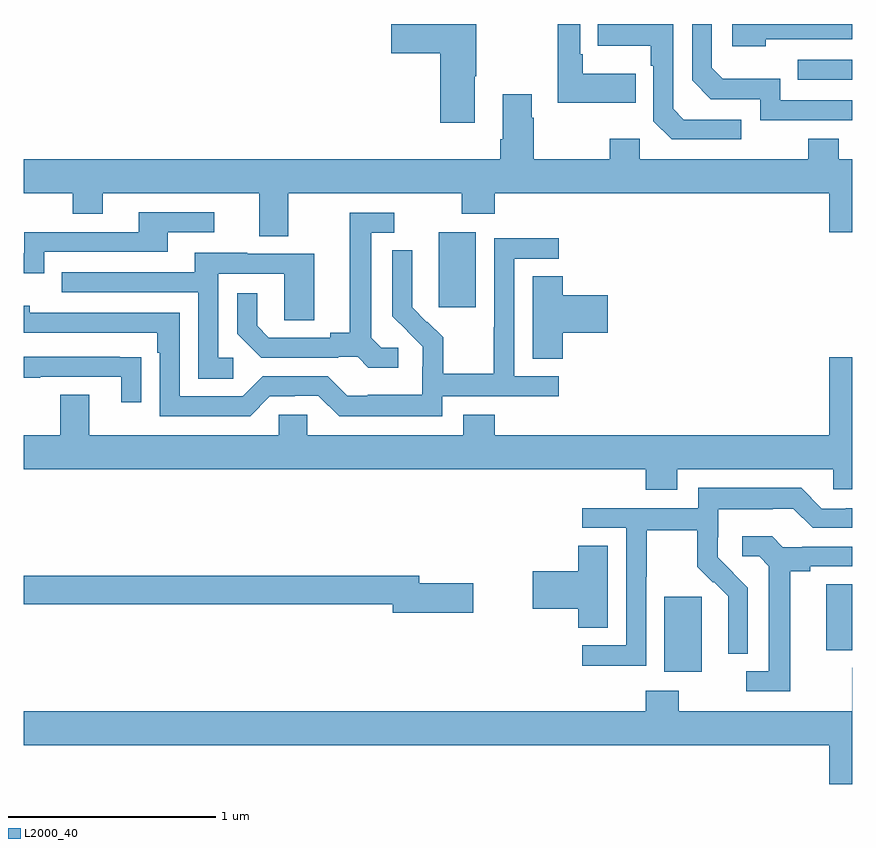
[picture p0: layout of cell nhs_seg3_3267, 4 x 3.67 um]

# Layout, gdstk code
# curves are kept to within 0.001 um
import gdstk
lib = gdstk.Library(unit=1e-6, precision=1e-09)
def R(c, l, rs):  # rectangles x0, y0, x1, y1
    for r in rs: c.add(gdstk.rectangle(r[:2], r[2:], *l))
def P(c, l, *ps):  # polygons
    for p in ps: c.add(gdstk.Polygon(p, *l))
L2000_40 = (2000, 40)

nhs_seg3_3267 = lib.new_cell('nhs_seg3_3267')
R(nhs_seg3_3267, L2000_40, [(284.093,697.274,284.272,697.635), (284.873,697.377,285,697.697), (283.004,699.033,283.183,699.394), (284.737,700.131,285,700.227)])
P(nhs_seg3_3267, L2000_40, [(283.955,700.159),(283.699,700.159),(283.699,700.255),(283.686,700.255),(283.686,700.4),(283.578,700.4),(283.578,700.019),(283.955,700.019)],
  [(285,700.032),(284.652,700.032),(284.652,700.135),(284.375,700.135),(284.322,700.188),(284.322,700.4),(284.226,700.4),(284.226,700.128),(284.316,700.038),(284.556,700.038),(284.556,699.936),(285,699.936)],
  [(284.464,699.939),(284.187,699.939),(284.136,699.99),(284.136,700.4),(283.771,700.4),(283.771,700.295),(284.028,700.295),(284.028,700.199),(284.04,700.199),(284.04,699.93),(284.127,699.843),(284.464,699.843)],
  [(284.582,700.326),(285,700.326),(285,700.4),(284.421,700.4),(284.421,700.292),(284.582,700.292)],
  [(283.177,700.147),(283.185,700.147),(283.185,700.4),(282.774,700.4),(282.774,700.259),(283.01,700.259),(283.01,699.924),(283.177,699.924)],
  [(282.277,699.584),(283.114,699.584),(283.114,699.485),(283.274,699.485),(283.274,699.584),(284.888,699.584),(284.888,699.396),(285,699.396),(285,699.748),(284.935,699.748),(284.935,699.847),(284.788,699.847),(284.788,699.748),(283.974,699.748),(283.974,699.847),(283.828,699.847),(283.828,699.748),(283.461,699.748),(283.461,699.947),(283.453,699.947),(283.453,700.06),(283.313,700.06),(283.313,699.844),(283.301,699.844),(283.301,699.748),(281,699.748),(281,699.584),(281.236,699.584),(281.236,699.485),(281.383,699.485),(281.383,699.584),(282.137,699.584),(282.137,699.376),(282.277,699.376)],
  [(281.1,699.3),(281.695,699.3),(281.695,699.396),(281.92,699.396),(281.92,699.492),(281.555,699.492),(281.555,699.396),(281.004,699.396),(281.004,699.294),(281,699.294),(281,699.197),(281.1,699.197)],
  [(282.808,698.838),(282.726,698.838),(282.679,698.885),(282.679,699.393),(282.79,699.393),(282.79,699.489),(282.575,699.489),(282.575,698.909),(282.479,698.909),(282.479,698.886),(282.184,698.886),(282.127,698.943),(282.127,699.1),(282.03,699.1),(282.03,698.906),(282.146,698.79),(282.518,698.79),(282.518,698.793),(282.612,698.793),(282.664,698.741),(282.808,698.741)],
  [(283.02,698.604),(283.582,698.604),(283.582,698.7),(283.368,698.7),(283.368,699.267),(283.582,699.267),(283.582,699.366),(283.272,699.366),(283.272,698.936),(283.27,698.936),(283.27,698.713),(283.025,698.713),(283.025,698.887),(282.948,698.964),(282.945,698.961),(282.875,699.032),(282.876,699.308),(282.78,699.308),(282.78,698.99),(282.926,698.842),(282.926,698.745),(282.924,698.745),(282.924,698.611),(282.661,698.611),(282.661,698.607),(282.561,698.607),(282.468,698.7),(282.153,698.7),(282.057,698.604),(281.754,698.604),(281.754,699.006),(281.03,699.006),(281.03,699.04),(281,699.04),(281,698.91),(281.645,698.91),(281.645,698.813),(281.658,698.813),(281.658,698.508),(282.093,698.508),(282.189,698.604),(282.308,698.604),(282.308,698.607),(282.423,698.607),(282.523,698.507),(283.02,698.507)],
  [(282.013,698.79),(281.94,698.79),(281.94,699.195),(282.258,699.195),(282.258,698.971),(282.403,698.971),(282.403,699.291),(282.079,699.291),(282.079,699.295),(281.825,699.295),(281.825,699.201),(281.185,699.201),(281.185,699.105),(281.844,699.105),(281.844,698.689),(282.013,698.689)],
  [(283.601,698.909),(283.819,698.909),(283.819,699.092),(283.601,699.092),(283.601,699.182),(283.457,699.182),(283.457,698.785),(283.601,698.785)],
  [(281.567,698.792),(281.465,698.792),(281.465,698.793),(281,698.793),(281,698.692),(281.081,698.692),(281.081,698.697),(281.471,698.697),(281.471,698.574),(281.567,698.574)],
  [(284.155,698.252),(284.907,698.252),(284.907,698.154),(285,698.154),(285,698.791),(284.888,698.791),(284.888,698.416),(283.274,698.416),(283.274,698.515),(283.121,698.515),(283.121,698.416),(282.369,698.416),(282.369,698.514),(282.231,698.514),(282.231,698.416),(281.317,698.416),(281.317,698.611),(281.177,698.611),(281.177,698.416),(281,698.416),(281,698.252),(284.003,698.252),(284.003,698.153),(284.155,698.153)],
  [(284.004,697.732),(284.007,697.732),(284.007,697.956),(284.251,697.956),(284.251,697.781),(284.328,697.704),(284.331,697.707),(284.402,697.637),(284.402,697.514),(284.4,697.514),(284.4,697.36),(284.496,697.36),(284.496,697.678),(284.35,697.826),(284.35,697.923),(284.352,697.923),(284.352,698.057),(284.615,698.057),(284.615,698.061),(284.715,698.061),(284.808,697.968),(285,697.968),(285,698.064),(284.969,698.064),(284.969,698.061),(284.853,698.061),(284.753,698.161),(284.256,698.161),(284.256,698.064),(283.695,698.064),(283.695,697.968),(283.908,697.968),(283.908,697.401),(283.695,697.401),(283.695,697.303),(284.004,697.303)],
  [(284.701,697.76),(284.797,697.76),(284.797,697.782),(285,697.782),(285,697.878),(284.758,697.878),(284.758,697.875),(284.664,697.875),(284.612,697.927),(284.469,697.927),(284.469,697.83),(284.55,697.83),(284.597,697.783),(284.597,697.275),(284.487,697.275),(284.487,697.179),(284.701,697.179)],
  [(283.819,697.883),(283.676,697.883),(283.676,697.76),(283.458,697.76),(283.458,697.577),(283.676,697.577),(283.676,697.486),(283.819,697.486)],
  [(283.171,697.7),(282.91,697.7),(282.91,697.736),(281,697.736),(281,697.6),(282.782,697.6),(282.782,697.558),(283.171,697.558)],
  [(285,697.292),(284.999,697.292),(284.999,697.084),(284.163,697.084),(284.163,697.183),(284.003,697.183),(284.003,697.084),(281,697.084),(281,696.92),(284.888,696.92),(284.888,696.732),(285,696.732)])

lib.write_gds('nhs_seg3_3267.gds')
